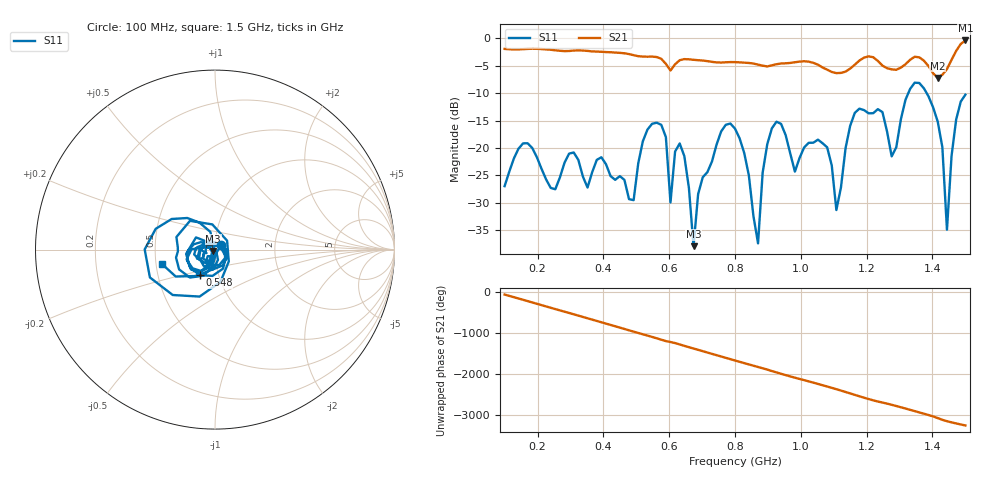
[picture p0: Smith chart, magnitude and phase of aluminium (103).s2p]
! NanoVNA-App
! Date: 2025-09-26 09:58:51
! Start: 100MHz Stop: 1,5GHz Points: 101
! S-Parameter data: F S11 S21 S12 S22
# Hz S RI R 50
!  Frequency  S11_Real  S11_Imag  S21_Real  S21_Imag  S12_Real  S12_Imag  S22_Real  S22_Imag
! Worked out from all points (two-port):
!   101 points, 100 MHz to 1.5 GHz, reference 50 ohm
!   highest |S21| = -0.37 dB at 1.5 GHz (marker M1); lowest = -7.2 dB at 1.416 GHz (marker M2)
!   |S21| within 3 dB of the highest: start of sweep to 557.3 MHz; 1.463 GHz to end of sweep (the widest 2 of 4)
!   lowest |S11| = -37.9 dB at 674 MHz (marker M3), VSWR 1.03, Z = 49 - j0.812 ohm
!   |S11| at or under -10 dB: start of sweep to 1.327 GHz; 1.382 GHz to end of sweep
!   S12 and S22 are empty: the file has one direction only
!   S11 on the Smith chart (normalised r, x): 100 MHz: 1.07, +0.06; 548 MHz: 0.81, -0.24; 1.5 GHz: 0.54, -0.09
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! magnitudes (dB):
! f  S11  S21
! 100 MHz  -27.0  -1.9
! 156 MHz  -19.2  -2.0
! 338 MHz  -25.2  -2.2
! 492 MHz  -29.5  -3.1
! 548 MHz  -15.6  -3.3
! 576 MHz  -15.8  -3.7
! 604 MHz  -30.0  -5.9
! 646 MHz  -21.5  -3.8
! 674 MHz  -37.9  -3.9
! 702 MHz  -25.4  -4.0
! 800 MHz  -16.5  -4.3
! 870 MHz  -37.4  -4.8
! 912 MHz  -16.4  -4.9
! 1.038 GHz  -19.0  -4.5
! 1.108 GHz  -31.3  -6.3
! 1.164 GHz  -13.6  -4.8
! 1.276 GHz  -21.5  -5.7
! 1.346 GHz  -8.1  -3.3
! 1.416 GHz  -15.2  -7.2
! 1.444 GHz  -34.9  -5.6
! 1.472 GHz  -14.8  -2.3
! 1.5 GHz  -10.3  -0.4
